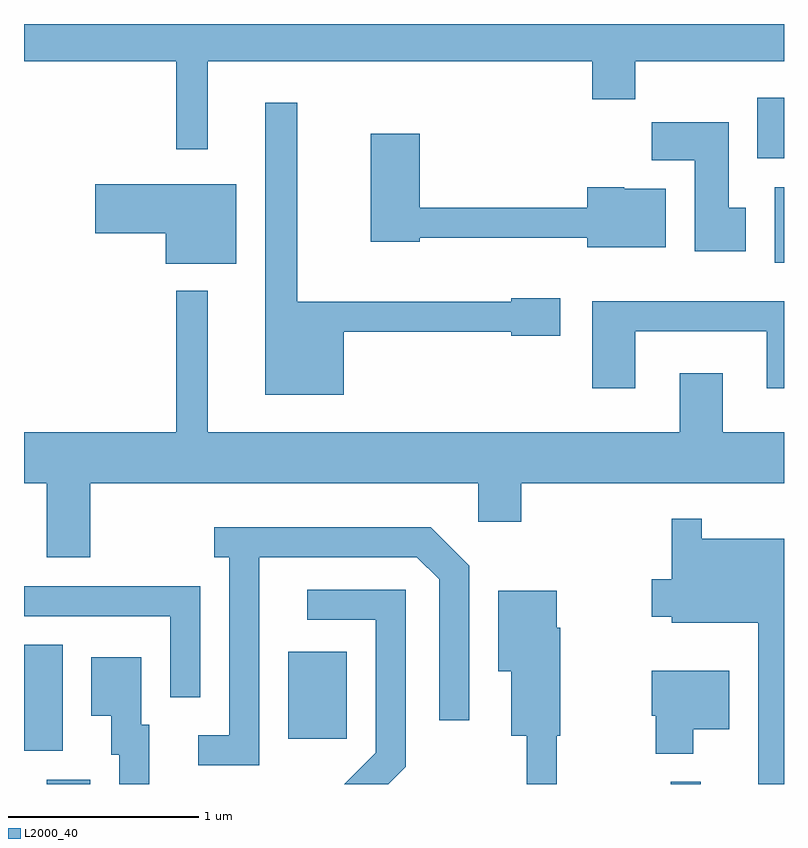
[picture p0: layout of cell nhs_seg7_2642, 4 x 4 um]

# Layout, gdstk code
import gdstk
lib = gdstk.Library(unit=1e-6, precision=1e-09)
def R(c, l, rs):  # rectangles x0, y0, x1, y1
    for r in rs: c.add(gdstk.rectangle(r[:2], r[2:], *l))
def P(c, l, *ps):  # polygons
    for p in ps: c.add(gdstk.Polygon(p, *l))
L2000_40 = (2000, 40)

nhs_seg7_2642 = lib.new_cell('nhs_seg7_2642')
R(nhs_seg7_2642, L2000_40, [(265.731,1748.252,265.959,1748.274), (269.016,1748.252,269.174,1748.263), (265.611,1748.426,265.814,1748.984), (267.001,1748.491,267.309,1748.949), (269.561,1750.996,269.611,1751.394), (269.471,1751.546,269.611,1751.864)])
P(nhs_seg7_2642, L2000_40, [(266.579,1752.056),(268.601,1752.056),(268.601,1751.856),(268.829,1751.856),(268.829,1752.056),(269.611,1752.056),(269.611,1752.252),(265.611,1752.252),(265.611,1752.056),(266.411,1752.056),(266.411,1751.593),(266.579,1751.593)],
  [(267.294,1750.631),(268.176,1750.631),(268.176,1750.611),(268.434,1750.611),(268.434,1750.809),(268.176,1750.809),(268.176,1750.789),(267.049,1750.789),(267.049,1751.838),(266.881,1751.838),(266.881,1750.301),(267.294,1750.301)],
  [(269.409,1751.284),(269.319,1751.284),(269.319,1751.734),(268.916,1751.734),(268.916,1751.536),(269.141,1751.536),(269.141,1751.056),(269.409,1751.056)],
  [(268.989,1751.384),(268.77,1751.384),(268.77,1751.394),(268.576,1751.394),(268.576,1751.284),(267.694,1751.284),(267.694,1751.674),(267.436,1751.674),(267.436,1751.106),(267.694,1751.106),(267.694,1751.126),(268.576,1751.126),(268.576,1751.076),(268.989,1751.076)],
  [(266.729,1751.409),(265.986,1751.409),(265.986,1751.151),(266.356,1751.151),(266.356,1750.991),(266.729,1750.991)],
  [(265.959,1749.836),(268.001,1749.836),(268.001,1749.631),(268.229,1749.631),(268.229,1749.836),(269.611,1749.836),(269.611,1750.104),(269.289,1750.104),(269.289,1750.414),(269.061,1750.414),(269.061,1750.104),(266.579,1750.104),(266.579,1750.848),(266.411,1750.848),(266.411,1750.104),(265.611,1750.104),(265.611,1749.836),(265.731,1749.836),(265.731,1749.446),(265.959,1749.446)],
  [(268.829,1750.636),(269.521,1750.636),(269.521,1750.336),(269.611,1750.336),(269.611,1750.794),(268.601,1750.794),(268.601,1750.336),(268.829,1750.336)],
  [(269.611,1749.544),(269.179,1749.544),(269.179,1749.648),(269.021,1749.648),(269.021,1749.329),(268.916,1749.329),(268.916,1749.131),(269.021,1749.131),(269.021,1749.101),(269.476,1749.101),(269.476,1748.252),(269.611,1748.252)],
  [(266.849,1749.446),(267.679,1749.446),(267.796,1749.329),(267.796,1748.588),(267.954,1748.588),(267.954,1749.402),(267.752,1749.604),(266.613,1749.604),(266.613,1749.446),(266.691,1749.446),(266.691,1748.509),(266.528,1748.509),(266.528,1748.351),(266.849,1748.351)],
  [(266.539,1749.294),(265.611,1749.294),(265.611,1749.136),(266.381,1749.136),(266.381,1748.708),(266.539,1748.708)],
  [(267.619,1748.344),(267.619,1749.274),(267.103,1749.274),(267.103,1749.116),(267.461,1749.116),(267.461,1748.417),(267.297,1748.252),(267.527,1748.252)],
  [(268.414,1748.506),(268.434,1748.506),(268.434,1749.074),(268.414,1749.074),(268.414,1749.269),(268.106,1749.269),(268.106,1748.846),(268.176,1748.846),(268.176,1748.506),(268.256,1748.506),(268.256,1748.252),(268.414,1748.252)],
  [(266.269,1748.564),(266.229,1748.564),(266.229,1748.919),(265.966,1748.919),(265.966,1748.611),(266.071,1748.611),(266.071,1748.406),(266.111,1748.406),(266.111,1748.252),(266.269,1748.252)],
  [(269.134,1748.541),(269.324,1748.541),(269.324,1748.849),(268.916,1748.849),(268.916,1748.611),(268.936,1748.611),(268.936,1748.411),(269.134,1748.411)])

lib.write_gds('nhs_seg7_2642.gds')
